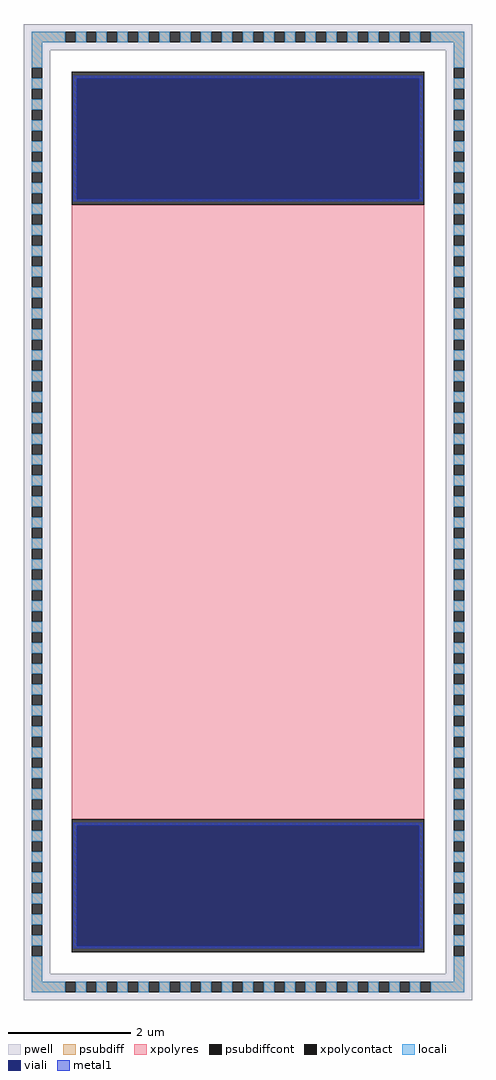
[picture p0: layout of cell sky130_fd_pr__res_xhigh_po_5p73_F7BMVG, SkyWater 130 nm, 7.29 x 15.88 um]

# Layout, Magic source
magic
tech sky130A
magscale 1 2
<< pwell >>
rect -729 1502 729 1588
rect -729 -1502 -643 1502
rect 643 -1502 729 1502
rect -729 -1588 729 -1502
<< psubdiff >>
rect -703 1528 -595 1562
rect -561 1528 -527 1562
rect -493 1528 -459 1562
rect -425 1528 -391 1562
rect -357 1528 -323 1562
rect -289 1528 -255 1562
rect -221 1528 -187 1562
rect -153 1528 -119 1562
rect -85 1528 -51 1562
rect -17 1528 17 1562
rect 51 1528 85 1562
rect 119 1528 153 1562
rect 187 1528 221 1562
rect 255 1528 289 1562
rect 323 1528 357 1562
rect 391 1528 425 1562
rect 459 1528 493 1562
rect 527 1528 561 1562
rect 595 1528 703 1562
rect -703 1445 -669 1528
rect 669 1445 703 1528
rect -703 1377 -669 1411
rect -703 1309 -669 1343
rect -703 1241 -669 1275
rect -703 1173 -669 1207
rect -703 1105 -669 1139
rect -703 1037 -669 1071
rect -703 969 -669 1003
rect -703 901 -669 935
rect -703 833 -669 867
rect -703 765 -669 799
rect -703 697 -669 731
rect -703 629 -669 663
rect -703 561 -669 595
rect -703 493 -669 527
rect -703 425 -669 459
rect -703 357 -669 391
rect -703 289 -669 323
rect -703 221 -669 255
rect -703 153 -669 187
rect -703 85 -669 119
rect -703 17 -669 51
rect -703 -51 -669 -17
rect -703 -119 -669 -85
rect -703 -187 -669 -153
rect -703 -255 -669 -221
rect -703 -323 -669 -289
rect -703 -391 -669 -357
rect -703 -459 -669 -425
rect -703 -527 -669 -493
rect -703 -595 -669 -561
rect -703 -663 -669 -629
rect -703 -731 -669 -697
rect -703 -799 -669 -765
rect -703 -867 -669 -833
rect -703 -935 -669 -901
rect -703 -1003 -669 -969
rect -703 -1071 -669 -1037
rect -703 -1139 -669 -1105
rect -703 -1207 -669 -1173
rect -703 -1275 -669 -1241
rect -703 -1343 -669 -1309
rect -703 -1411 -669 -1377
rect 669 1377 703 1411
rect 669 1309 703 1343
rect 669 1241 703 1275
rect 669 1173 703 1207
rect 669 1105 703 1139
rect 669 1037 703 1071
rect 669 969 703 1003
rect 669 901 703 935
rect 669 833 703 867
rect 669 765 703 799
rect 669 697 703 731
rect 669 629 703 663
rect 669 561 703 595
rect 669 493 703 527
rect 669 425 703 459
rect 669 357 703 391
rect 669 289 703 323
rect 669 221 703 255
rect 669 153 703 187
rect 669 85 703 119
rect 669 17 703 51
rect 669 -51 703 -17
rect 669 -119 703 -85
rect 669 -187 703 -153
rect 669 -255 703 -221
rect 669 -323 703 -289
rect 669 -391 703 -357
rect 669 -459 703 -425
rect 669 -527 703 -493
rect 669 -595 703 -561
rect 669 -663 703 -629
rect 669 -731 703 -697
rect 669 -799 703 -765
rect 669 -867 703 -833
rect 669 -935 703 -901
rect 669 -1003 703 -969
rect 669 -1071 703 -1037
rect 669 -1139 703 -1105
rect 669 -1207 703 -1173
rect 669 -1275 703 -1241
rect 669 -1343 703 -1309
rect 669 -1411 703 -1377
rect -703 -1528 -669 -1445
rect 669 -1528 703 -1445
rect -703 -1562 -595 -1528
rect -561 -1562 -527 -1528
rect -493 -1562 -459 -1528
rect -425 -1562 -391 -1528
rect -357 -1562 -323 -1528
rect -289 -1562 -255 -1528
rect -221 -1562 -187 -1528
rect -153 -1562 -119 -1528
rect -85 -1562 -51 -1528
rect -17 -1562 17 -1528
rect 51 -1562 85 -1528
rect 119 -1562 153 -1528
rect 187 -1562 221 -1528
rect 255 -1562 289 -1528
rect 323 -1562 357 -1528
rect 391 -1562 425 -1528
rect 459 -1562 493 -1528
rect 527 -1562 561 -1528
rect 595 -1562 703 -1528
<< psubdiffcont >>
rect -595 1528 -561 1562
rect -527 1528 -493 1562
rect -459 1528 -425 1562
rect -391 1528 -357 1562
rect -323 1528 -289 1562
rect -255 1528 -221 1562
rect -187 1528 -153 1562
rect -119 1528 -85 1562
rect -51 1528 -17 1562
rect 17 1528 51 1562
rect 85 1528 119 1562
rect 153 1528 187 1562
rect 221 1528 255 1562
rect 289 1528 323 1562
rect 357 1528 391 1562
rect 425 1528 459 1562
rect 493 1528 527 1562
rect 561 1528 595 1562
rect -703 1411 -669 1445
rect -703 1343 -669 1377
rect -703 1275 -669 1309
rect -703 1207 -669 1241
rect -703 1139 -669 1173
rect -703 1071 -669 1105
rect -703 1003 -669 1037
rect -703 935 -669 969
rect -703 867 -669 901
rect -703 799 -669 833
rect -703 731 -669 765
rect -703 663 -669 697
rect -703 595 -669 629
rect -703 527 -669 561
rect -703 459 -669 493
rect -703 391 -669 425
rect -703 323 -669 357
rect -703 255 -669 289
rect -703 187 -669 221
rect -703 119 -669 153
rect -703 51 -669 85
rect -703 -17 -669 17
rect -703 -85 -669 -51
rect -703 -153 -669 -119
rect -703 -221 -669 -187
rect -703 -289 -669 -255
rect -703 -357 -669 -323
rect -703 -425 -669 -391
rect -703 -493 -669 -459
rect -703 -561 -669 -527
rect -703 -629 -669 -595
rect -703 -697 -669 -663
rect -703 -765 -669 -731
rect -703 -833 -669 -799
rect -703 -901 -669 -867
rect -703 -969 -669 -935
rect -703 -1037 -669 -1003
rect -703 -1105 -669 -1071
rect -703 -1173 -669 -1139
rect -703 -1241 -669 -1207
rect -703 -1309 -669 -1275
rect -703 -1377 -669 -1343
rect -703 -1445 -669 -1411
rect 669 1411 703 1445
rect 669 1343 703 1377
rect 669 1275 703 1309
rect 669 1207 703 1241
rect 669 1139 703 1173
rect 669 1071 703 1105
rect 669 1003 703 1037
rect 669 935 703 969
rect 669 867 703 901
rect 669 799 703 833
rect 669 731 703 765
rect 669 663 703 697
rect 669 595 703 629
rect 669 527 703 561
rect 669 459 703 493
rect 669 391 703 425
rect 669 323 703 357
rect 669 255 703 289
rect 669 187 703 221
rect 669 119 703 153
rect 669 51 703 85
rect 669 -17 703 17
rect 669 -85 703 -51
rect 669 -153 703 -119
rect 669 -221 703 -187
rect 669 -289 703 -255
rect 669 -357 703 -323
rect 669 -425 703 -391
rect 669 -493 703 -459
rect 669 -561 703 -527
rect 669 -629 703 -595
rect 669 -697 703 -663
rect 669 -765 703 -731
rect 669 -833 703 -799
rect 669 -901 703 -867
rect 669 -969 703 -935
rect 669 -1037 703 -1003
rect 669 -1105 703 -1071
rect 669 -1173 703 -1139
rect 669 -1241 703 -1207
rect 669 -1309 703 -1275
rect 669 -1377 703 -1343
rect 669 -1445 703 -1411
rect -595 -1562 -561 -1528
rect -527 -1562 -493 -1528
rect -459 -1562 -425 -1528
rect -391 -1562 -357 -1528
rect -323 -1562 -289 -1528
rect -255 -1562 -221 -1528
rect -187 -1562 -153 -1528
rect -119 -1562 -85 -1528
rect -51 -1562 -17 -1528
rect 17 -1562 51 -1528
rect 85 -1562 119 -1528
rect 153 -1562 187 -1528
rect 221 -1562 255 -1528
rect 289 -1562 323 -1528
rect 357 -1562 391 -1528
rect 425 -1562 459 -1528
rect 493 -1562 527 -1528
rect 561 -1562 595 -1528
<< xpolycontact >>
rect -573 1000 573 1432
rect -573 -1432 573 -1000
<< xpolyres >>
rect -573 -1000 573 1000
<< locali >>
rect -703 1528 -595 1562
rect -561 1528 -527 1562
rect -493 1528 -459 1562
rect -425 1528 -391 1562
rect -357 1528 -323 1562
rect -289 1528 -255 1562
rect -221 1528 -187 1562
rect -153 1528 -119 1562
rect -85 1528 -51 1562
rect -17 1528 17 1562
rect 51 1528 85 1562
rect 119 1528 153 1562
rect 187 1528 221 1562
rect 255 1528 289 1562
rect 323 1528 357 1562
rect 391 1528 425 1562
rect 459 1528 493 1562
rect 527 1528 561 1562
rect 595 1528 703 1562
rect -703 1445 -669 1528
rect 669 1445 703 1528
rect -703 1377 -669 1411
rect -703 1309 -669 1343
rect -703 1241 -669 1275
rect -703 1173 -669 1207
rect -703 1105 -669 1139
rect -703 1037 -669 1071
rect -703 969 -669 1003
rect 669 1377 703 1411
rect 669 1309 703 1343
rect 669 1241 703 1275
rect 669 1173 703 1207
rect 669 1105 703 1139
rect 669 1037 703 1071
rect -703 901 -669 935
rect -703 833 -669 867
rect -703 765 -669 799
rect -703 697 -669 731
rect -703 629 -669 663
rect -703 561 -669 595
rect -703 493 -669 527
rect -703 425 -669 459
rect -703 357 -669 391
rect -703 289 -669 323
rect -703 221 -669 255
rect -703 153 -669 187
rect -703 85 -669 119
rect -703 17 -669 51
rect -703 -51 -669 -17
rect -703 -119 -669 -85
rect -703 -187 -669 -153
rect -703 -255 -669 -221
rect -703 -323 -669 -289
rect -703 -391 -669 -357
rect -703 -459 -669 -425
rect -703 -527 -669 -493
rect -703 -595 -669 -561
rect -703 -663 -669 -629
rect -703 -731 -669 -697
rect -703 -799 -669 -765
rect -703 -867 -669 -833
rect -703 -935 -669 -901
rect -703 -1003 -669 -969
rect 669 969 703 1003
rect 669 901 703 935
rect 669 833 703 867
rect 669 765 703 799
rect 669 697 703 731
rect 669 629 703 663
rect 669 561 703 595
rect 669 493 703 527
rect 669 425 703 459
rect 669 357 703 391
rect 669 289 703 323
rect 669 221 703 255
rect 669 153 703 187
rect 669 85 703 119
rect 669 17 703 51
rect 669 -51 703 -17
rect 669 -119 703 -85
rect 669 -187 703 -153
rect 669 -255 703 -221
rect 669 -323 703 -289
rect 669 -391 703 -357
rect 669 -459 703 -425
rect 669 -527 703 -493
rect 669 -595 703 -561
rect 669 -663 703 -629
rect 669 -731 703 -697
rect 669 -799 703 -765
rect 669 -867 703 -833
rect 669 -935 703 -901
rect -703 -1071 -669 -1037
rect -703 -1139 -669 -1105
rect -703 -1207 -669 -1173
rect -703 -1275 -669 -1241
rect -703 -1343 -669 -1309
rect -703 -1411 -669 -1377
rect 669 -1003 703 -969
rect 669 -1071 703 -1037
rect 669 -1139 703 -1105
rect 669 -1207 703 -1173
rect 669 -1275 703 -1241
rect 669 -1343 703 -1309
rect 669 -1411 703 -1377
rect -703 -1528 -669 -1445
rect 669 -1528 703 -1445
rect -703 -1562 -595 -1528
rect -561 -1562 -527 -1528
rect -493 -1562 -459 -1528
rect -425 -1562 -391 -1528
rect -357 -1562 -323 -1528
rect -289 -1562 -255 -1528
rect -221 -1562 -187 -1528
rect -153 -1562 -119 -1528
rect -85 -1562 -51 -1528
rect -17 -1562 17 -1528
rect 51 -1562 85 -1528
rect 119 -1562 153 -1528
rect 187 -1562 221 -1528
rect 255 -1562 289 -1528
rect 323 -1562 357 -1528
rect 391 -1562 425 -1528
rect 459 -1562 493 -1528
rect 527 -1562 561 -1528
rect 595 -1562 703 -1528
<< viali >>
rect -557 1018 557 1412
rect -557 -1413 557 -1019
<< metal1 >>
rect -569 1412 569 1420
rect -569 1018 -557 1412
rect 557 1018 569 1412
rect -569 1011 569 1018
rect -569 -1019 569 -1011
rect -569 -1413 -557 -1019
rect 557 -1413 569 -1019
rect -569 -1420 569 -1413
<< properties >>
string FIXED_BBOX -686 -1545 686 1545
<< end >>
